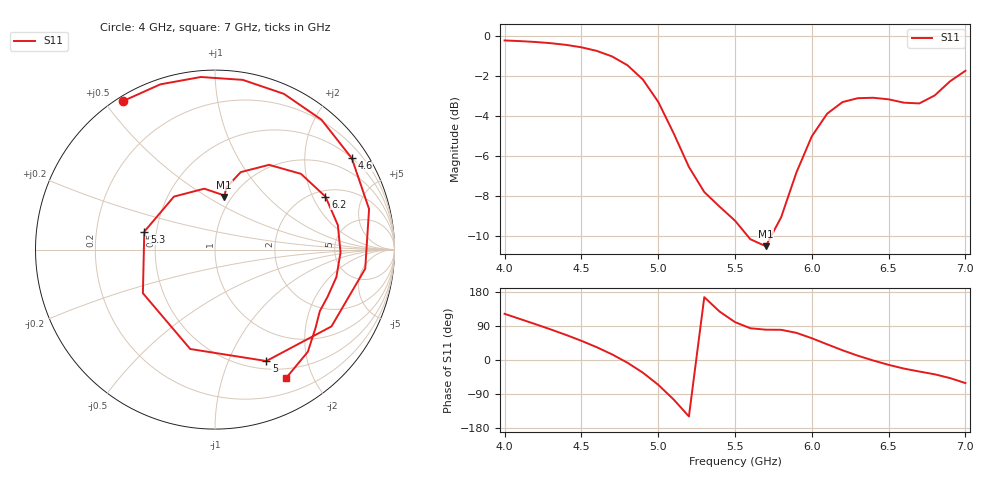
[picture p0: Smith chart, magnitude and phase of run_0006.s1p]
! Touchstone file exported from HFSS 2024.2.0
!  File:  C:/Users/wsak9/Desktop/Sim Fast/Widenad Patch/WP_AI_V1_sweep.aedt
!  Generated:  02:58:24 PM Oct 13, 2026
!  Design:  A1_model
!  Project:  WP_AI_V1_sweep
!  Setup:  Setup1
!  Solution:  Sweep
! Variables:
!  Air_gap = 1.62mm
!  Curve_Amp1 = 2.39
!  Curve_len1 = 1
!  Curve_pos = 9.55mm
!  Extra = 1.72mm
!  H_sub = 0.79mm
!  L_Patch = 15.1mm
!  L_Patch1 = 15.26mm
!  Sx = 2.5mm
!  Sy = 4.41mm
!  WS = 0.66mm
!  W_Patch = 17.05mm
!  W_Patch1 = 13.54mm
!Data is not renormalized
# GHz S MA
! Terminal data exported
! Port[1] = 1
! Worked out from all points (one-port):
!   31 points, 4 GHz to 7 GHz, reference per port
!   lowest |S11| = -10.5 dB at 5.7 GHz (marker M1), VSWR 1.85
!   |S11| at or under -10 dB: 5.58 GHz to 5.737 GHz (156.5 MHz wide, 2.77 % of centre)
!   S11 on the Smith chart (normalised r, x): 4 GHz: 0.02, +0.56; 4.6 GHz: 0.51, +3.23; 5 GHz: 0.60, -1.39; 5.3 GHz: 0.43, +0.10; 6.2 GHz: 2.27, +2.51; 7 GHz: 0.38, -1.64
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4  0.9733 121.8
4.1  0.9697 108.3
4.2  0.9648 94.7
4.3  0.9582 80.7
4.4  0.9489 66.2
4.5  0.9357 50.6
4.6  0.9165 33.7
4.7  0.8877 14.7
4.8  0.8437 -7.2
4.9  0.7773 -33.4
5  0.6835 -65.3
5.1  0.5708 -104.0
5.2  0.4696 -148.8
5.3  0.4064 165.8
5.4  0.3735 127.7
5.5  0.3446 100.0
5.6  0.3096 83.8
5.7  0.2975 80.0
5.8  0.3511 79.7
5.9  0.455 71.6
6  0.5602 57.5
6.1  0.6384 41.4
6.2  0.6825 25.6
6.3  0.698 11.3
6.5  0.6934 -12.8
6.7  0.6772 -30.4
6.9  0.7692 -47.7
7  0.8172 -60.9
